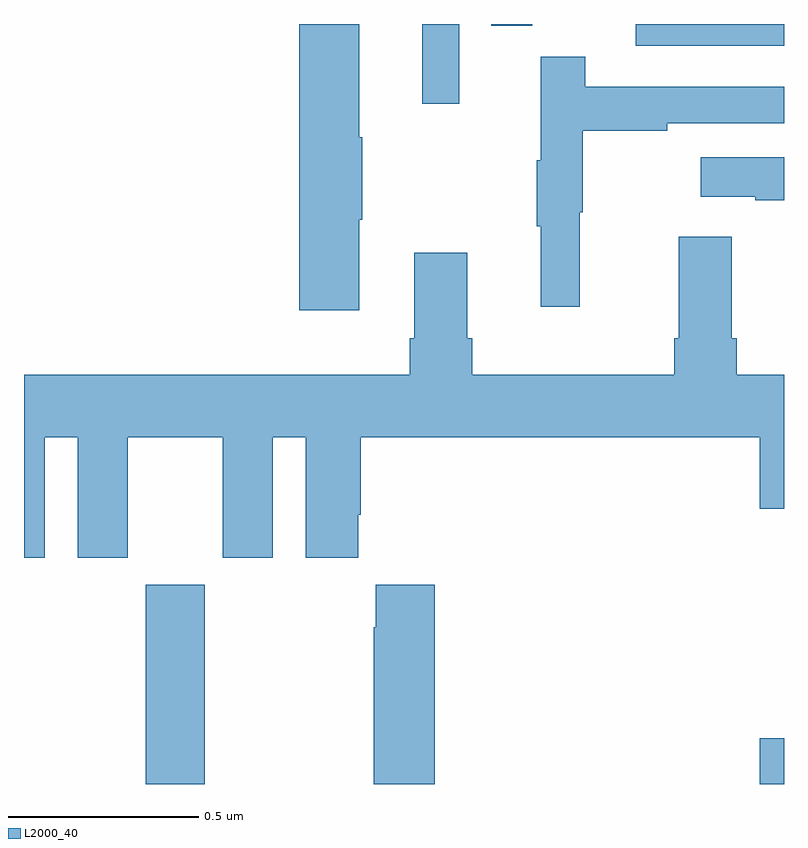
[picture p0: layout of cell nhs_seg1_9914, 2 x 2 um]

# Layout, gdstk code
import gdstk
lib = gdstk.Library(unit=1e-6, precision=1e-09)
def R(c, l, rs):  # rectangles x0, y0, x1, y1
    for r in rs: c.add(gdstk.rectangle(r[:2], r[2:], *l))
def P(c, l, *ps):  # polygons
    for p in ps: c.add(gdstk.Polygon(p, *l))
L2000_40 = (2000, 40)

nhs_seg1_9914 = lib.new_cell('nhs_seg1_9914')
R(nhs_seg1_9914, L2000_40, [(235.321,504.199,235.476,504.724), (236.936,504.199,237,504.319), (236.048,505.989,236.145,506.199), (236.61,506.142,237,506.199), (236.23,506.194,236.338,506.199)])
P(nhs_seg1_9914, L2000_40, [(235.882,505.684),(235.89,505.684),(235.89,505.901),(235.882,505.901),(235.882,506.199),(235.724,506.199),(235.724,505.446),(235.882,505.446)],
  [(236.462,505.704),(236.47,505.704),(236.47,505.918),(236.693,505.918),(236.693,505.938),(237,505.938),(237,506.034),(236.477,506.034),(236.477,506.113),(236.36,506.113),(236.36,505.841),(236.349,505.841),(236.349,505.667),(236.36,505.667),(236.36,505.455),(236.462,505.455)],
  [(237,505.849),(236.781,505.849),(236.781,505.745),(236.924,505.745),(236.924,505.735),(237,505.735)],
  [(236.936,504.924),(237,504.924),(237,505.276),(236.876,505.276),(236.876,505.372),(236.863,505.372),(236.863,505.639),(236.723,505.639),(236.723,505.372),(236.711,505.372),(236.711,505.276),(236.18,505.276),(236.18,505.372),(236.167,505.372),(236.167,505.597),(236.027,505.597),(236.027,505.372),(236.015,505.372),(236.015,505.276),(235,505.276),(235,504.795),(235.054,504.795),(235.054,505.112),(235.142,505.112),(235.142,504.795),(235.273,504.795),(235.273,505.112),(235.523,505.112),(235.523,504.795),(235.654,504.795),(235.654,505.112),(235.742,505.112),(235.742,504.795),(235.879,504.795),(235.879,504.907),(235.886,504.907),(235.886,505.112),(236.936,505.112)],
  [(236.081,504.724),(235.925,504.724),(235.925,504.611),(235.921,504.611),(235.921,504.199),(236.081,504.199)])

lib.write_gds('nhs_seg1_9914.gds')
